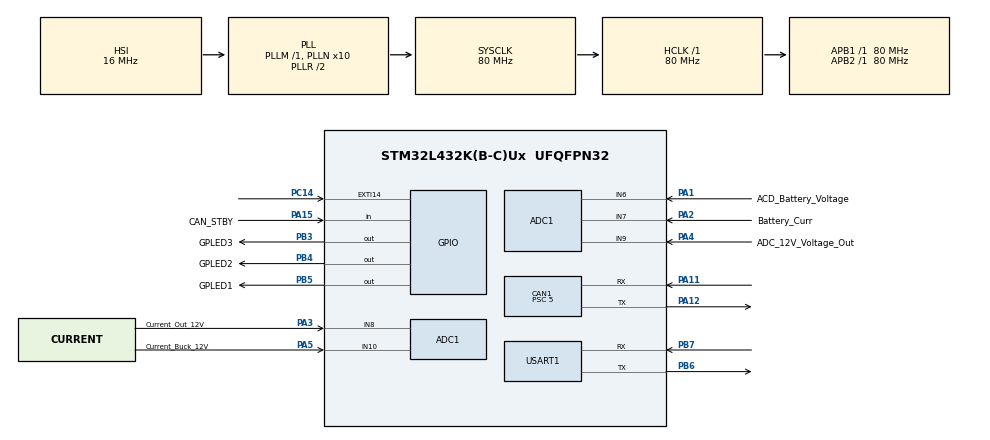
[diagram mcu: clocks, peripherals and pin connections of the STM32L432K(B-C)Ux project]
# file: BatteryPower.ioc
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ADC1.Channel-0\#ChannelRegularConversion=ADC_CHANNEL_6
ADC1.Channel-1\#ChannelRegularConversion=ADC_CHANNEL_7
ADC1.Channel-2\#ChannelRegularConversion=ADC_CHANNEL_8
ADC1.Channel-3\#ChannelRegularConversion=ADC_CHANNEL_9
ADC1.Channel-4\#ChannelRegularConversion=ADC_CHANNEL_10
ADC1.ContinuousConvMode=DISABLE
ADC1.NbrOfConversion=5
ADC1.NbrOfConversionFlag=1
ADC1.OffsetNumber-0\#ChannelRegularConversion=ADC_OFFSET_NONE
ADC1.OffsetNumber-1\#ChannelRegularConversion=ADC_OFFSET_NONE
ADC1.OffsetNumber-2\#ChannelRegularConversion=ADC_OFFSET_NONE
ADC1.OffsetNumber-3\#ChannelRegularConversion=ADC_OFFSET_NONE
ADC1.OffsetNumber-4\#ChannelRegularConversion=ADC_OFFSET_NONE
ADC1.Overrun=ADC_OVR_DATA_OVERWRITTEN
ADC1.Rank-0\#ChannelRegularConversion=1
ADC1.Rank-1\#ChannelRegularConversion=2
ADC1.Rank-2\#ChannelRegularConversion=3
ADC1.Rank-3\#ChannelRegularConversion=4
ADC1.Rank-4\#ChannelRegularConversion=5
ADC1.SamplingTime-0\#ChannelRegularConversion=ADC_SAMPLETIME_2CYCLES_5
ADC1.SamplingTime-1\#ChannelRegularConversion=ADC_SAMPLETIME_2CYCLES_5
ADC1.SamplingTime-2\#ChannelRegularConversion=ADC_SAMPLETIME_2CYCLES_5
ADC1.SamplingTime-3\#ChannelRegularConversion=ADC_SAMPLETIME_2CYCLES_5
ADC1.SamplingTime-4\#ChannelRegularConversion=ADC_SAMPLETIME_2CYCLES_5
ADC1.master=1
CAN1.BS1=CAN_BS1_11TQ
CAN1.BS2=CAN_BS2_4TQ
CAN1.CalculateBaudRate=1000000
CAN1.CalculateTimeBit=1000
CAN1.CalculateTimeQuantum=62.5
CAN1.Prescaler=5
Dma.ADC1.0.Direction=DMA_PERIPH_TO_MEMORY
Dma.ADC1.0.Instance=DMA1_Channel1
Dma.ADC1.0.MemDataAlignment=DMA_MDATAALIGN_HALFWORD
Dma.ADC1.0.MemInc=DMA_MINC_ENABLE
Dma.ADC1.0.Mode=DMA_CIRCULAR
Dma.ADC1.0.PeriphDataAlignment=DMA_PDATAALIGN_HALFWORD
Dma.ADC1.0.PeriphInc=DMA_PINC_DISABLE
Dma.ADC1.0.Priority=DMA_PRIORITY_HIGH
Dma.Request0=ADC1
FREERTOS.BinarySemaphores01=ADCConvCmpltS,Dynamic,NULL
FREERTOS.Queues01=canRxRtrQueue,128,uint32_t,0,Static,canRxRtrQueueBuffer,canRxRtrQueueControlBlock;canRxDataQueue,128,uint32_t,0,Static,canRxDataQueueBuffer,canRxDataQueueControlBlock
FREERTOS.Tasks01=AdcTask,24,128,StartAdcTask,Default,NULL,Static,AdcTaskBuffer,AdcTaskControlBlock;CanRtrTask,25,128,StartCanRtrTask,Default,NULL,Static,CanRtrTaskBuffer,CanRtrTaskControlBlock;CanDataTask,26,128,StartCanDataTask,Default,NULL,Static,CanDataTaskBuffer,CanDataTaskControlBlock;BattMonTask,28,128,StartBattMonTask,Default,NULL,Static,BattMonTaskBuffer,BattMonTaskControlBlock
FREERTOS.configENABLE_FPU=1
FREERTOS.configUSE_NEWLIB_REENTRANT=1
Mcu.Family=STM32L4
Mcu.Name=STM32L432K(B-C)Ux
Mcu.Package=UFQFPN32
NVIC.CAN1_RX0_IRQn=true\:5\:0\:false\:false\:true\:true\:true\:true\:true
NVIC.CAN1_RX1_IRQn=true\:5\:0\:false\:false\:true\:true\:true\:true\:true
NVIC.CAN1_TX_IRQn=true\:5\:0\:false\:false\:true\:true\:true\:true\:true
NVIC.DMA1_Channel1_IRQn=true\:5\:0\:false\:false\:true\:true\:false\:true\:true
NVIC.EXTI15_10_IRQn=true\:5\:0\:false\:false\:true\:true\:true\:true\:true
NVIC.PriorityGroup=NVIC_PRIORITYGROUP_4
NVIC.TIM1_UP_TIM16_IRQn=true\:15\:0\:false\:false\:true\:false\:false\:true\:true
NVIC.TimeBase=TIM1_UP_TIM16_IRQn
NVIC.TimeBaseIP=TIM1
PA1.GPIO_Label=ACD_Battery_Voltage
PA1.Signal=ADCx_IN6
PA11.GPIO_PuPd=GPIO_PULLUP
PA11.Mode=CAN_Activate
PA11.Signal=CAN1_RX
PA12.Mode=CAN_Activate
PA12.Signal=CAN1_TX
PA13\ (JTMS-SWDIO).Mode=Serial_Wire
PA13\ (JTMS-SWDIO).Signal=SYS_JTMS-SWDIO
PA14\ (JTCK-SWCLK).Mode=Serial_Wire
PA14\ (JTCK-SWCLK).Signal=SYS_JTCK-SWCLK
PA15\ (JTDI).GPIO_Label=CAN_STBY
PA15\ (JTDI).GPIO_PuPd=GPIO_PULLDOWN
PA15\ (JTDI).Signal=GPIO_Input
PA2.GPIO_Label=Battery_Curr
PA2.Signal=ADCx_IN7
PA3.GPIO_Label=Current_Out_12V
PA3.Signal=ADCx_IN8
PA4.GPIO_Label=ADC_12V_Voltage_Out
PA4.Signal=ADCx_IN9
PA5.GPIO_Label=Current_Buck_12V
PA5.Signal=ADCx_IN10
PB3\ (JTDO-TRACESWO).GPIO_Label=GPLED3
PB3\ (JTDO-TRACESWO).Signal=GPIO_Output
PB4\ (NJTRST).GPIO_Label=GPLED2
PB4\ (NJTRST).Signal=GPIO_Output
PB5.GPIO_Label=GPLED1
PB5.Signal=GPIO_Output
PB6.Mode=Asynchronous
PB6.Signal=USART1_TX
PB7.Mode=Asynchronous
PB7.Signal=USART1_RX
PC14-OSC32_IN\ (PC14).Signal=GPXTI14
ProjectManager.HeapSize=0x200
ProjectManager.StackSize=0x400
ProjectManager.TargetToolchain=STM32CubeIDE
RCC.ADCFreq_Value=64000000
RCC.AHBFreq_Value=80000000
RCC.APB1Freq_Value=80000000
RCC.APB1TimFreq_Value=80000000
RCC.APB2Freq_Value=80000000
RCC.APB2TimFreq_Value=80000000
RCC.CortexFreq_Value=80000000
RCC.HCLKFreq_Value=80000000
RCC.HSE_VALUE=8000000
RCC.HSI48_VALUE=48000000
RCC.HSI_VALUE=16000000
RCC.LSE_VALUE=32768
RCC.MSI_VALUE=4000000
RCC.PLLN=10
RCC.PLLSourceVirtual=RCC_PLLSOURCE_HSI
RCC.SYSCLKFreq_VALUE=80000000
RCC.SYSCLKSource=RCC_SYSCLKSOURCE_PLLCLK
RCC.USBFreq_Value=64000000
RCC.VCOOutputFreq_Value=160000000
SH.ADCx_IN10.0=ADC1_IN10,IN10-Single-Ended
SH.ADCx_IN6.0=ADC1_IN6,IN6-Single-Ended
SH.ADCx_IN7.0=ADC1_IN7,IN7-Single-Ended
SH.ADCx_IN8.0=ADC1_IN8,IN8-Single-Ended
SH.ADCx_IN9.0=ADC1_IN9,IN9-Single-Ended
USART1.VirtualMode-Asynchronous=VM_ASYNC
VP_FREERTOS_VS_CMSIS_V2.Mode=CMSIS_V2
VP_SYS_VS_tim1.Mode=TIM1
board=custom

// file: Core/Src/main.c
/* USER CODE BEGIN Header */
/**
 ******************************************************************************
 * @file           : main.c
 * @brief          : Main program body
 ******************************************************************************
 * @attention
 *
 * Copyright (c) 2024 STMicroelectronics.
 * All rights reserved.
 *
 * This software is licensed under terms that can be found in the LICENSE file
 * in the root directory of this software component.
 * If no LICENSE file comes with this software, it is provided AS-IS.
 *
 ******************************************************************************
 */

/* USER CODE END Header */
#include "main.h"
#include "cmsis_os.h"

/* USER CODE BEGIN Includes */
#include "canid.h"
#include <stdlib.h>
#include <string.h>
/* USER CODE END Includes */

typedef StaticTask_t osStaticThreadDef_t;
typedef StaticQueue_t osStaticMessageQDef_t;
/* USER CODE BEGIN PTD */

typedef struct {
	float batt_volt;
	float batt_cur;
	float output_volt; // 12 volt output voltage
	float output_cur;  // 12 volt output current
	float buck_cur;    // 5 volt buck current
} bbData_t;

/* USER CODE END PTD */

/* USER CODE BEGIN PD */
#define CAN_TX_MAILBOX_NONE 0x00000000UL
#define BATTERY_LOW_CHARGE (17.0f) // Safe low, min in physical is 15v
#define BATTERY_MED_CHARGE (19.0f)
#define BATTERY_MAX_CHARGE (20.0f) // It never charges to full 21v
#define ADC_VOLT_REF (3.3f / 4096.0f)
#define VOLT_TO_CURR (2.5f) // A/V
#define BATTERY_VOLT_DIVIDER (10.8f * 1.076899904246163f) // correction factor // voltage divider input 18.5v/ output 1.7123412v
#define OUTPUT_VOLT_DIVIDER (7.1f) // voltage divider input 12v/ output 1.68862275v

/* USER CODE END PD */

ADC_HandleTypeDef hadc1;
DMA_HandleTypeDef hdma_adc1;

CAN_HandleTypeDef hcan1;

UART_HandleTypeDef huart1;

/* Definitions for AdcTask */
osThreadId_t AdcTaskHandle;
uint32_t AdcTaskBuffer[128];
osStaticThreadDef_t AdcTaskControlBlock;
const osThreadAttr_t AdcTask_attributes = { .name = "AdcTask", .cb_mem =
		&AdcTaskControlBlock, .cb_size = sizeof(AdcTaskControlBlock),
		.stack_mem = &AdcTaskBuffer[0], .stack_size = sizeof(AdcTaskBuffer),
		.priority = (osPriority_t) osPriorityNormal, };
/* Definitions for CanRtrTask */
osThreadId_t CanRtrTaskHandle;
uint32_t CanRtrTaskBuffer[128];
osStaticThreadDef_t CanRtrTaskControlBlock;
const osThreadAttr_t CanRtrTask_attributes = { .name = "CanRtrTask", .cb_mem =
		&CanRtrTaskControlBlock, .cb_size = sizeof(CanRtrTaskControlBlock),
		.stack_mem = &CanRtrTaskBuffer[0], .stack_size =
				sizeof(CanRtrTaskBuffer), .priority =
				(osPriority_t) osPriorityNormal1, };
/* Definitions for CanDataTask */
osThreadId_t CanDataTaskHandle;
uint32_t CanDataTaskBuffer[128];
osStaticThreadDef_t CanDataTaskControlBlock;
const osThreadAttr_t CanDataTask_attributes = { .name = "CanDataTask", .cb_mem =
		&CanDataTaskControlBlock, .cb_size = sizeof(CanDataTaskControlBlock),
		.stack_mem = &CanDataTaskBuffer[0], .stack_size =
				sizeof(CanDataTaskBuffer), .priority =
				(osPriority_t) osPriorityNormal2, };
/* Definitions for BattMonTask */
osThreadId_t BattMonTaskHandle;
uint32_t BattMonTaskBuffer[128];
osStaticThreadDef_t BattMonTaskControlBlock;
const osThreadAttr_t BattMonTask_attributes = { .name = "BattMonTask", .cb_mem =
		&BattMonTaskControlBlock, .cb_size = sizeof(BattMonTaskControlBlock),
		.stack_mem = &BattMonTaskBuffer[0], .stack_size =
				sizeof(BattMonTaskBuffer), .priority =
				(osPriority_t) osPriorityNormal4, };
/* Definitions for canRxRtrQueue */
osMessageQueueId_t canRxRtrQueueHandle;
uint8_t canRxRtrQueueBuffer[128 * sizeof(uint32_t)];
osStaticMessageQDef_t canRxRtrQueueControlBlock;
const osMessageQueueAttr_t canRxRtrQueue_attributes = { .name = "canRxRtrQueue",
		.cb_mem = &canRxRtrQueueControlBlock, .cb_size =
				sizeof(canRxRtrQueueControlBlock), .mq_mem =
				&canRxRtrQueueBuffer, .mq_size = sizeof(canRxRtrQueueBuffer) };
/* Definitions for canRxDataQueue */
osMessageQueueId_t canRxDataQueueHandle;
uint8_t canRxDataQueueBuffer[128 * sizeof(uint32_t)];
osStaticMessageQDef_t canRxDataQueueControlBlock;
const osMessageQueueAttr_t canRxDataQueue_attributes = { .name =
		"canRxDataQueue", .cb_mem = &canRxDataQueueControlBlock, .cb_size =
		sizeof(canRxDataQueueControlBlock), .mq_mem = &canRxDataQueueBuffer,
		.mq_size = sizeof(canRxDataQueueBuffer) };
/* Definitions for ADCConvCmpltS */
osSemaphoreId_t ADCConvCmpltSHandle;
const osSemaphoreAttr_t ADCConvCmpltS_attributes = { .name = "ADCConvCmpltS" };
/* USER CODE BEGIN PV */
bbData_t battery_board_data[10];

volatile uint16_t adcResults[5] = { 0 };

CAN_RxHeaderTypeDef RxHeader;
uint8_t RxData[8];
uint32_t TxMailboxCanTask;
/* USER CODE END PV */

void SystemClock_Config(void);
static void MX_GPIO_Init(void);
static void MX_DMA_Init(void);
static void MX_CAN1_Init(void);
static void MX_USART1_UART_Init(void);
static void MX_ADC1_Init(void);
void StartAdcTask(void *argument);
void StartCanRtrTask(void *argument);
void StartCanDataTask(void *argument);
void StartBattMonTask(void *argument);

/* USER CODE BEGIN PFP */

int _write(int file, char *ptr, int len) {

	HAL_UART_Transmit(&huart1, (uint8_t*) ptr, len, HAL_MAX_DELAY);
	return len;
}

uint32_t conversion_completed = 0;

void HAL_ADC_ConvCpltCallback(ADC_HandleTypeDef *hadc) {
	if (hadc->Instance == hadc1.Instance) {
		osSemaphoreRelease(ADCConvCmpltSHandle);
	}
}

// NICK: I edited how my Callbacks work to be a little safer, check it out
void HAL_CAN_RxFifo0MsgPendingCallback(CAN_HandleTypeDef *hcan) {
	HAL_CAN_GetRxMessage(hcan, CAN_RX_FIFO0, &RxHeader, RxData);
	if (RxHeader.RTR == CAN_RTR_REMOTE) {
		osMessageQueuePut(canRxRtrQueueHandle, &RxHeader.StdId, 0U, 0UL);
	} else {
		osMessageQueuePut(canRxDataQueueHandle, &RxHeader.StdId, 0U, 0UL);
		// Data request, don't add anything else to queue
		if (RxHeader.DLC <= 4UL) {
			osMessageQueuePut(canRxDataQueueHandle, RxData, 0U, 0UL);
		} else {
			osMessageQueuePut(canRxDataQueueHandle, RxData, 0U, 0UL);
			osMessageQueuePut(canRxDataQueueHandle, &RxData[4], 0U, 0UL);
		}
	}
}

/* Transmit Completed Callbacks for Message Sent Confirmations */
void HAL_CAN_TxMailbox0CompleteCallback(CAN_HandleTypeDef *hcan) {
	if (TxMailboxCanTask == CAN_TX_MAILBOX0) {
		// osSemaphoreRelease(canMsgReceivedSemHandle);
		TxMailboxCanTask = CAN_TX_MAILBOX_NONE;
	}
}
void HAL_CAN_TxMailbox1CompleteCallback(CAN_HandleTypeDef *hcan) {
	if (TxMailboxCanTask == CAN_TX_MAILBOX1) {
		// osSemaphoreRelease(canMsgReceivedSemHandle);
		TxMailboxCanTask = CAN_TX_MAILBOX_NONE;
	}
}
void HAL_CAN_TxMailbox2CompleteCallback(CAN_HandleTypeDef *hcan) {
	if (TxMailboxCanTask == CAN_TX_MAILBOX2) {
		// osSemaphoreRelease(canMsgReceivedSemHandle);
		TxMailboxCanTask = CAN_TX_MAILBOX_NONE;
	}
}

HAL_StatusTypeDef HAL_CAN_SafeAddTxMessage(uint8_t *msg, uint32_t msg_id,
		uint32_t msg_length, uint32_t *TxMailbox, uint32_t rtr) {
#define CAN_ADD_TX_TIMEOUT_MS 5000

	uint32_t fc_tick;
	HAL_StatusTypeDef hal_stat;
	CAN_TxHeaderTypeDef TxHeader;

	// These will never change
	TxHeader.IDE = CAN_ID_STD;
	TxHeader.ExtId = 0;
	TxHeader.TransmitGlobalTime = DISABLE;

	// User will give us this information
	TxHeader.RTR = rtr;
	TxHeader.StdId = msg_id;
	TxHeader.DLC = msg_length;

	// Start a timer to check timeout conditions
	fc_tick = HAL_GetTick();

	/* Try to add a Tx message. Returns HAL_ERROR if there are no avail
	 * mailboxes or if the peripheral is not initialized. */
	do {
		hal_stat = HAL_CAN_AddTxMessage(&hcan1, &TxHeader, msg, TxMailbox);
	} while (hal_stat != HAL_OK
			&& ((HAL_GetTick() - fc_tick) < CAN_ADD_TX_TIMEOUT_MS));

	return hal_stat;
}

/* USER CODE END PFP */

int main(void) {

	/* MCU Configuration--------------------------------------------------------*/

	/* Reset of all peripherals, Initializes the Flash interface and the Systick. */
	HAL_Init();

	/* Configure the system clock */
	SystemClock_Config();

	/* Initialize all configured peripherals */
	MX_GPIO_Init();
	MX_DMA_Init();
	MX_CAN1_Init();
	MX_USART1_UART_Init();
	MX_ADC1_Init();

	/* Init scheduler */
	osKernelInitialize();

	/* Create the semaphores(s) */
	/* creation of ADCConvCmpltS */
	ADCConvCmpltSHandle = osSemaphoreNew(1, 0, &ADCConvCmpltS_attributes);

	/* Create the queue(s) */
	/* creation of canRxRtrQueue */
	canRxRtrQueueHandle = osMessageQueueNew(128, sizeof(uint32_t),
			&canRxRtrQueue_attributes);

	/* creation of canRxDataQueue */
	canRxDataQueueHandle = osMessageQueueNew(128, sizeof(uint32_t),
			&canRxDataQueue_attributes);

	/* Create the thread(s) */
	/* creation of AdcTask */
	AdcTaskHandle = osThreadNew(StartAdcTask, NULL, &AdcTask_attributes);

	/* creation of CanRtrTask */
	CanRtrTaskHandle = osThreadNew(StartCanRtrTask, NULL,
			&CanRtrTask_attributes);

	/* creation of CanDataTask */
	CanDataTaskHandle = osThreadNew(StartCanDataTask, NULL,
			&CanDataTask_attributes);

	/* creation of BattMonTask */
	BattMonTaskHandle = osThreadNew(StartBattMonTask, NULL,
			&BattMonTask_attributes);

	/* Start scheduler */
	osKernelStart();

	/* We should never get here as control is now taken by the scheduler */
	/* Infinite loop */
	while (1) {

	}
}

void SystemClock_Config(void) {
	RCC_OscInitTypeDef RCC_OscInitStruct = { 0 };
	RCC_ClkInitTypeDef RCC_ClkInitStruct = { 0 };

	/** Configure the main internal regulator output voltage
	 */
	if (HAL_PWREx_ControlVoltageScaling(PWR_REGULATOR_VOLTAGE_SCALE1)
			!= HAL_OK) {
		Error_Handler();
	}

	/** Initializes the RCC Oscillators according to the specified parameters
	 * in the RCC_OscInitTypeDef structure.
	 */
	RCC_OscInitStruct.OscillatorType = RCC_OSCILLATORTYPE_HSI;
	RCC_OscInitStruct.HSIState = RCC_HSI_ON;
	RCC_OscInitStruct.HSICalibrationValue = RCC_HSICALIBRATION_DEFAULT;
	RCC_OscInitStruct.PLL.PLLState = RCC_PLL_ON;
	RCC_OscInitStruct.PLL.PLLSource = RCC_PLLSOURCE_HSI;
	RCC_OscInitStruct.PLL.PLLM = 1;
	RCC_OscInitStruct.PLL.PLLN = 10;
	RCC_OscInitStruct.PLL.PLLP = RCC_PLLP_DIV7;
	RCC_OscInitStruct.PLL.PLLQ = RCC_PLLQ_DIV2;
	RCC_OscInitStruct.PLL.PLLR = RCC_PLLR_DIV2;
	if (HAL_RCC_OscConfig(&RCC_OscInitStruct) != HAL_OK) {
		Error_Handler();
	}

	/** Initializes the CPU, AHB and APB buses clocks
	 */
	RCC_ClkInitStruct.ClockType = RCC_CLOCKTYPE_HCLK | RCC_CLOCKTYPE_SYSCLK
			| RCC_CLOCKTYPE_PCLK1 | RCC_CLOCKTYPE_PCLK2;
	RCC_ClkInitStruct.SYSCLKSource = RCC_SYSCLKSOURCE_PLLCLK;
	RCC_ClkInitStruct.AHBCLKDivider = RCC_SYSCLK_DIV1;
	RCC_ClkInitStruct.APB1CLKDivider = RCC_HCLK_DIV1;
	RCC_ClkInitStruct.APB2CLKDivider = RCC_HCLK_DIV1;

	if (HAL_RCC_ClockConfig(&RCC_ClkInitStruct, FLASH_LATENCY_4) != HAL_OK) {
		Error_Handler();
	}
}

static void MX_ADC1_Init(void) {

	ADC_ChannelConfTypeDef sConfig = { 0 };

	/** Common config
	 */
	hadc1.Instance = ADC1;
	hadc1.Init.ClockPrescaler = ADC_CLOCK_ASYNC_DIV1;
	hadc1.Init.Resolution = ADC_RESOLUTION_12B;
	hadc1.Init.DataAlign = ADC_DATAALIGN_RIGHT;
	hadc1.Init.ScanConvMode = ADC_SCAN_ENABLE;
	hadc1.Init.EOCSelection = ADC_EOC_SINGLE_CONV;
	hadc1.Init.LowPowerAutoWait = DISABLE;
	hadc1.Init.ContinuousConvMode = DISABLE;
	hadc1.Init.NbrOfConversion = 5;
	hadc1.Init.DiscontinuousConvMode = DISABLE;
	hadc1.Init.ExternalTrigConv = ADC_SOFTWARE_START;
	hadc1.Init.ExternalTrigConvEdge = ADC_EXTERNALTRIGCONVEDGE_NONE;
	hadc1.Init.DMAContinuousRequests = DISABLE;
	hadc1.Init.Overrun = ADC_OVR_DATA_OVERWRITTEN;
	hadc1.Init.OversamplingMode = DISABLE;
	if (HAL_ADC_Init(&hadc1) != HAL_OK) {
		Error_Handler();
	}

	/** Configure Regular Channel
	 */
	sConfig.Channel = ADC_CHANNEL_6;
	sConfig.Rank = ADC_REGULAR_RANK_1;
	sConfig.SamplingTime = ADC_SAMPLETIME_2CYCLES_5;
	sConfig.SingleDiff = ADC_SINGLE_ENDED;
	sConfig.OffsetNumber = ADC_OFFSET_NONE;
	sConfig.Offset = 0;
	if (HAL_ADC_ConfigChannel(&hadc1, &sConfig) != HAL_OK) {
		Error_Handler();
	}

	/** Configure Regular Channel
	 */
	sConfig.Channel = ADC_CHANNEL_7;
	sConfig.Rank = ADC_REGULAR_RANK_2;
	if (HAL_ADC_ConfigChannel(&hadc1, &sConfig) != HAL_OK) {
		Error_Handler();
	}

	/** Configure Regular Channel
	 */
	sConfig.Channel = ADC_CHANNEL_8;
	sConfig.Rank = ADC_REGULAR_RANK_3;
	if (HAL_ADC_ConfigChannel(&hadc1, &sConfig) != HAL_OK) {
		Error_Handler();
	}

	/** Configure Regular Channel
	 */
	sConfig.Channel = ADC_CHANNEL_9;
	sConfig.Rank = ADC_REGULAR_RANK_4;
	if (HAL_ADC_ConfigChannel(&hadc1, &sConfig) != HAL_OK) {
		Error_Handler();
	}

	/** Configure Regular Channel
	 */
	sConfig.Channel = ADC_CHANNEL_10;
	sConfig.Rank = ADC_REGULAR_RANK_5;
	if (HAL_ADC_ConfigChannel(&hadc1, &sConfig) != HAL_OK) {
		Error_Handler();
	}

}

static void MX_CAN1_Init(void) {

	hcan1.Instance = CAN1;
	hcan1.Init.Prescaler = 5;
	hcan1.Init.Mode = CAN_MODE_NORMAL;
	hcan1.Init.SyncJumpWidth = CAN_SJW_1TQ;
	hcan1.Init.TimeSeg1 = CAN_BS1_11TQ;
	hcan1.Init.TimeSeg2 = CAN_BS2_4TQ;
	hcan1.Init.TimeTriggeredMode = DISABLE;
	hcan1.Init.AutoBusOff = DISABLE;
	hcan1.Init.AutoWakeUp = DISABLE;
	hcan1.Init.AutoRetransmission = DISABLE;
	hcan1.Init.ReceiveFifoLocked = DISABLE;
	hcan1.Init.TransmitFifoPriority = DISABLE;
	if (HAL_CAN_Init(&hcan1) != HAL_OK) {
		Error_Handler();
	}

}

static void MX_USART1_UART_Init(void) {

	huart1.Instance = USART1;
	huart1.Init.BaudRate = 115200;
	huart1.Init.WordLength = UART_WORDLENGTH_8B;
	huart1.Init.StopBits = UART_STOPBITS_1;
	huart1.Init.Parity = UART_PARITY_NONE;
	huart1.Init.Mode = UART_MODE_TX_RX;
	huart1.Init.HwFlowCtl = UART_HWCONTROL_NONE;
	huart1.Init.OverSampling = UART_OVERSAMPLING_16;
	huart1.Init.OneBitSampling = UART_ONE_BIT_SAMPLE_DISABLE;
	huart1.AdvancedInit.AdvFeatureInit = UART_ADVFEATURE_NO_INIT;
	if (HAL_UART_Init(&huart1) != HAL_OK) {
		Error_Handler();
	}

}

static void MX_DMA_Init(void) {

	/* DMA controller clock enable */
	__HAL_RCC_DMA1_CLK_ENABLE();

	/* DMA interrupt init */
	/* DMA1_Channel1_IRQn interrupt configuration */
	HAL_NVIC_SetPriority(DMA1_Channel1_IRQn, 5, 0);
	HAL_NVIC_EnableIRQ(DMA1_Channel1_IRQn);

}

static void MX_GPIO_Init(void) {
	GPIO_InitTypeDef GPIO_InitStruct = { 0 };

	/* GPIO Ports Clock Enable */
	__HAL_RCC_GPIOC_CLK_ENABLE();
	__HAL_RCC_GPIOA_CLK_ENABLE();
	__HAL_RCC_GPIOB_CLK_ENABLE();
	__HAL_RCC_GPIOH_CLK_ENABLE();

	/*Configure GPIO pin Output Level */
	HAL_GPIO_WritePin(GPIOB, GPLED3_Pin | GPLED2_Pin | GPLED1_Pin,
			GPIO_PIN_RESET);

	/*Configure GPIO pin : PC14 */
	GPIO_InitStruct.Pin = GPIO_PIN_14;
	GPIO_InitStruct.Mode = GPIO_MODE_IT_RISING;
	GPIO_InitStruct.Pull = GPIO_NOPULL;
	HAL_GPIO_Init(GPIOC, &GPIO_InitStruct);

	/*Configure GPIO pin : PC15 */
	GPIO_InitStruct.Pin = GPIO_PIN_15;
	GPIO_InitStruct.Mode = GPIO_MODE_ANALOG;
	GPIO_InitStruct.Pull = GPIO_NOPULL;
	HAL_GPIO_Init(GPIOC, &GPIO_InitStruct);

	/*Configure GPIO pins : PA0 PA6 PA7 PA8
	 PA9 PA10 */
	GPIO_InitStruct.Pin = GPIO_PIN_0 | GPIO_PIN_6 | GPIO_PIN_7 | GPIO_PIN_8
			| GPIO_PIN_9 | GPIO_PIN_10;
	GPIO_InitStruct.Mode = GPIO_MODE_ANALOG;
	GPIO_InitStruct.Pull = GPIO_NOPULL;
	HAL_GPIO_Init(GPIOA, &GPIO_InitStruct);

	/*Configure GPIO pins : PB0 PB1 */
	GPIO_InitStruct.Pin = GPIO_PIN_0 | GPIO_PIN_1;
	GPIO_InitStruct.Mode = GPIO_MODE_ANALOG;
	GPIO_InitStruct.Pull = GPIO_NOPULL;
	HAL_GPIO_Init(GPIOB, &GPIO_InitStruct);

	/*Configure GPIO pin : CAN_STBY_Pin */
	GPIO_InitStruct.Pin = CAN_STBY_Pin;
	GPIO_InitStruct.Mode = GPIO_MODE_INPUT;
	GPIO_InitStruct.Pull = GPIO_PULLDOWN;
	HAL_GPIO_Init(CAN_STBY_GPIO_Port, &GPIO_InitStruct);

	/*Configure GPIO pins : GPLED3_Pin GPLED2_Pin GPLED1_Pin */
	GPIO_InitStruct.Pin = GPLED3_Pin | GPLED2_Pin | GPLED1_Pin;
	GPIO_InitStruct.Mode = GPIO_MODE_OUTPUT_PP;
	GPIO_InitStruct.Pull = GPIO_NOPULL;
	GPIO_InitStruct.Speed = GPIO_SPEED_FREQ_LOW;
	HAL_GPIO_Init(GPIOB, &GPIO_InitStruct);

	/*Configure GPIO pin : PH3 */
	GPIO_InitStruct.Pin = GPIO_PIN_3;
	GPIO_InitStruct.Mode = GPIO_MODE_ANALOG;
	GPIO_InitStruct.Pull = GPIO_NOPULL;
	HAL_GPIO_Init(GPIOH, &GPIO_InitStruct);

	/* EXTI interrupt init*/
	HAL_NVIC_SetPriority(EXTI15_10_IRQn, 5, 0);
	HAL_NVIC_EnableIRQ(EXTI15_10_IRQn);

}

void StartAdcTask(void *argument) {
	/* USER CODE BEGIN 5 */

	HAL_ADC_Start_DMA(&hadc1, (uint32_t*) adcResults, 5);

	uint8_t i = 0;

	/* Infinite loop */
	for (;;) {
		if (osSemaphoreAcquire(ADCConvCmpltSHandle, osWaitForever) == osOK) {
			battery_board_data[i].batt_volt = ((float) adcResults[0] * ADC_VOLT_REF
					* BATTERY_VOLT_DIVIDER);
			battery_board_data[i].batt_cur = adcResults[1] * ADC_VOLT_REF
					* VOLT_TO_CURR;
			battery_board_data[i].output_cur = adcResults[2] * ADC_VOLT_REF
					* VOLT_TO_CURR;
			battery_board_data[i].output_volt = adcResults[3] * ADC_VOLT_REF
					* OUTPUT_VOLT_DIVIDER;
			battery_board_data[i].output_cur = adcResults[4] * ADC_VOLT_REF
					* VOLT_TO_CURR;

			if (i == 9) {
				i = 0;
			} else {
				i++;
			}

			HAL_ADC_Start_DMA(&hadc1, (uint32_t*) adcResults, 5);
		}
		osDelay(10);
	}
	/* USER CODE END 5 */
}

void StartCanRtrTask(void *argument) {
	/* USER CODE BEGIN StartCanRtrTask */
	HAL_StatusTypeDef hal_stat;
	uint32_t queueData;
	float floatPackage[2];
	/* Infinite loop */
	for (;;) {
		if (osMessageQueueGet(canRxRtrQueueHandle, &queueData, 0U,
		osWaitForever) == osOK) {
			switch (queueData) {
			case INTERNAL_FUEL_CELL_PACKET:
				break;
			default:
				// this shouldn't happen
				break;
			}
		}
		osDelay(10);
	}

	/* USER CODE END StartCanRtrTask */
}

void StartCanDataTask(void *argument) {
	/* USER CODE BEGIN StartCanDataTask */
	HAL_CAN_Start(&hcan1);
	HAL_CAN_ActivateNotification(&hcan1, CAN_IT_RX_FIFO0_MSG_PENDING);
	HAL_CAN_ActivateNotification(&hcan1, CAN_IT_RX_FIFO1_MSG_PENDING);
	HAL_CAN_ActivateNotification(&hcan1, CAN_IT_TX_MAILBOX_EMPTY);

#define H2_ALARM_HIGH 1

	/* Infinite loop */
	uint32_t queueData;
	for (;;) {
		if (osMessageQueueGet(canRxDataQueueHandle, &queueData, 0U,
		osWaitForever) == osOK) {
			switch (queueData) {
			case H2_ALARM:
				// osMessageQueueGet(canRxDataQueueHandle, &queueData, 0U, 10UL);
				// memcpy(&canData.H2_OK, &queueData, sizeof(uint32_t));
				// if (canData.H2_OK == H2_ALARM_HIGH) {
				//  Potentially do something here
				//}
				break;
			default:
				break;
			}
		}
		osDelay(10);
	}

	/* USER CODE END StartCanDataTask */
}

void StartBattMonTask(void *argument) {
	/* USER CODE BEGIN StartBattMonTask */
	// first convert adc value to real analoge voltage.
	// to do so first find the adc constant
	// ADC = V_IN * Res_ADC / V_REF
	// Use ADC_VOLT_REF
	float batt_volt = 0.0f;
	HAL_GPIO_WritePin(GPLED1_GPIO_Port, GPLED1_Pin, GPIO_PIN_RESET);
	HAL_GPIO_WritePin(GPLED2_GPIO_Port, GPLED2_Pin, GPIO_PIN_RESET);
	HAL_GPIO_WritePin(GPLED3_GPIO_Port, GPLED3_Pin, GPIO_PIN_RESET);
	/* Infinite loop */
	for (;;) {

		batt_volt = battery_board_data[0].batt_volt;

		printf("[!BatteryMonitorTask]: Battery Voltage: %f", batt_volt);

		if (batt_volt > BATTERY_MAX_CHARGE) { // Fully charged
			// Stay Solid green with all other leds on
			HAL_GPIO_WritePin(GPLED1_GPIO_Port, GPLED1_Pin, GPIO_PIN_SET);
			HAL_GPIO_WritePin(GPLED2_GPIO_Port, GPLED2_Pin, GPIO_PIN_SET);
			HAL_GPIO_WritePin(GPLED3_GPIO_Port, GPLED3_Pin, GPIO_PIN_SET);
		} else if (batt_volt >= BATTERY_MED_CHARGE
				&& batt_volt < BATTERY_MAX_CHARGE) { // Usable
			// solid yellow with all others on
			HAL_GPIO_TogglePin(GPLED1_GPIO_Port, GPLED1_Pin);
			HAL_GPIO_WritePin(GPLED2_GPIO_Port, GPLED2_Pin, GPIO_PIN_SET);
			HAL_GPIO_WritePin(GPLED3_GPIO_Port, GPLED3_Pin, GPIO_PIN_SET);
		} else if (batt_volt < BATTERY_MED_CHARGE
				&& batt_volt > BATTERY_LOW_CHARGE) {
			// Solid Red
			HAL_GPIO_WritePin(GPLED1_GPIO_Port, GPLED1_Pin, GPIO_PIN_RESET);
			HAL_GPIO_WritePin(GPLED2_GPIO_Port, GPLED2_Pin, GPIO_PIN_RESET);
			HAL_GPIO_WritePin(GPLED3_GPIO_Port, GPLED3_Pin, GPIO_PIN_SET);
		} else if (batt_volt < BATTERY_LOW_CHARGE) {
			// Rapidly blink red.
			HAL_GPIO_WritePin(GPLED1_GPIO_Port, GPLED1_Pin, GPIO_PIN_RESET);
			HAL_GPIO_WritePin(GPLED2_GPIO_Port, GPLED2_Pin, GPIO_PIN_RESET);
			HAL_GPIO_TogglePin(GPLED3_GPIO_Port, GPLED3_Pin);
		}
		osDelay(500);
	}
	/* USER CODE END StartBattMonTask */
}

void HAL_TIM_PeriodElapsedCallback(TIM_HandleTypeDef *htim) {
	if (htim->Instance == TIM1) {
		HAL_IncTick();
	}
}

void Error_Handler(void) {
	__disable_irq();
	while (1) {
	}
}

#ifdef  USE_FULL_ASSERT
/**
  * @brief  Reports the name of the source file and the source line number
  *         where the assert_param error has occurred.
  * @param  file: pointer to the source file name
  * @param  line: assert_param error line source number
  * @retval None
  */
void assert_failed(uint8_t *file, uint32_t line)
{
  /* USER CODE BEGIN 6 */
  /* User can add his own implementation to report the file name and line
     number, ex: printf("Wrong parameters value: file %s on line %d\r\n", file,
     line) */
  /* USER CODE END 6 */
}
#endif /* USE_FULL_ASSERT */
